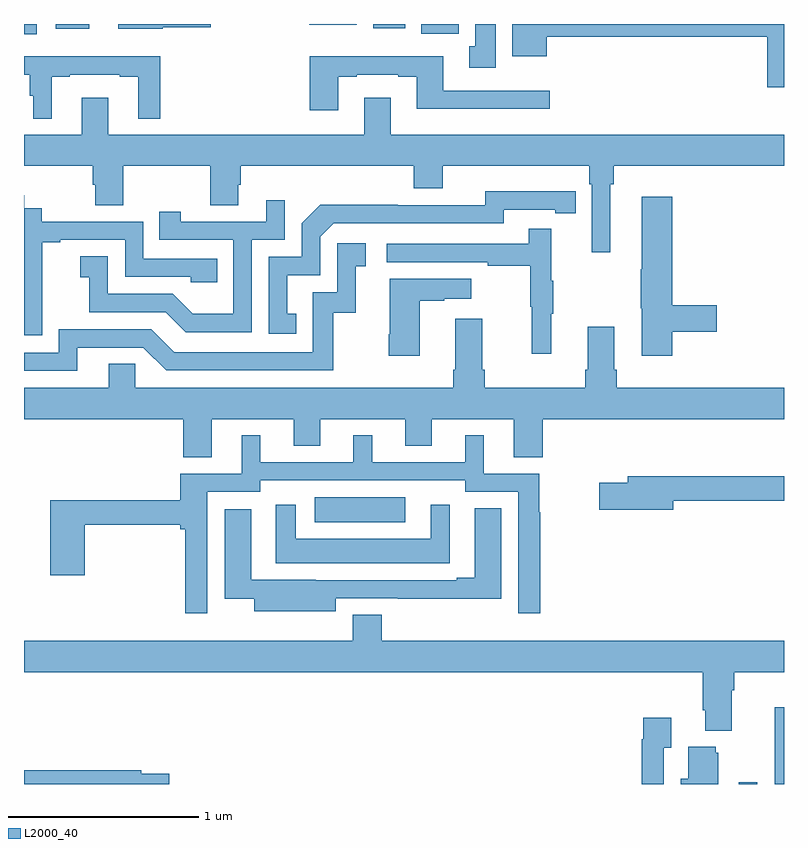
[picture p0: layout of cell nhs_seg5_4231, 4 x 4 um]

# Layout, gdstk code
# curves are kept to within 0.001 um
import gdstk
lib = gdstk.Library(unit=1e-6, precision=1e-09)
def R(c, l, rs):  # rectangles x0, y0, x1, y1
    for r in rs: c.add(gdstk.rectangle(r[:2], r[2:], *l))
def P(c, l, *ps):  # polygons
    for p in ps: c.add(gdstk.Polygon(p, *l))
L2000_40 = (2000, 40)

nhs_seg5_4231 = lib.new_cell('nhs_seg5_4231')
R(nhs_seg5_4231, L2000_40, [(362.763,894.799,362.859,894.808), (360.531,896.177,361.006,896.308), (359,898.745,359.068,898.799), (361.091,898.748,361.288,898.799), (359.168,898.775,359.344,898.799), (360.839,898.776,361.006,898.799), (360.5,898.796,360.751,898.799)])
P(nhs_seg5_4231, L2000_40, [(361.483,898.799),(361.376,898.799),(361.376,898.682),(361.343,898.682),(361.343,898.569),(361.483,898.569)],
  [(363,898.799),(361.571,898.799),(361.571,898.628),(361.75,898.628),(361.75,898.732),(362.912,898.732),(362.912,898.467),(363,898.467)],
  [(359.73,898.781),(359.983,898.781),(359.983,898.799),(359.495,898.799),(359.495,898.775),(359.73,898.775)],
  [(359.146,898.521),(359.242,898.521),(359.242,898.533),(359.504,898.533),(359.504,898.521),(359.6,898.521),(359.6,898.301),(359.717,898.301),(359.717,898.63),(359.172,898.63),(359.172,898.629),(359,898.629),(359,898.532),(359.029,898.532),(359.029,898.422),(359.048,898.422),(359.048,898.301),(359.146,898.301)],
  [(360.655,898.521),(360.751,898.521),(360.751,898.533),(360.971,898.533),(360.971,898.521),(361.067,898.521),(361.067,898.352),(361.768,898.352),(361.768,898.449),(361.207,898.449),(361.207,898.63),(360.503,898.63),(360.503,898.344),(360.655,898.344)],
  [(362.086,897.956),(362.105,897.956),(362.105,898.052),(363,898.052),(363,898.216),(360.931,898.216),(360.931,898.411),(360.791,898.411),(360.791,898.216),(359.443,898.216),(359.443,898.411),(359.303,898.411),(359.303,898.216),(359,898.216),(359,898.052),(359.363,898.052),(359.363,897.954),(359.375,897.954),(359.375,897.844),(359.523,897.844),(359.523,898.052),(359.98,898.052),(359.98,897.844),(360.127,897.844),(360.127,897.954),(360.14,897.954),(360.14,898.052),(361.052,898.052),(361.052,897.935),(361.204,897.935),(361.204,898.052),(361.976,898.052),(361.976,897.956),(361.989,897.956),(361.989,897.597),(362.086,897.597)],
  [(360.434,897.273),(360.385,897.273),(360.385,897.477),(360.558,897.477),(360.558,897.678),(360.63,897.75),(361.524,897.75),(361.524,897.822),(361.796,897.822),(361.796,897.802),(361.904,897.802),(361.904,897.918),(361.428,897.919),(361.428,897.846),(360.968,897.846),(360.968,897.848),(360.56,897.848),(360.462,897.75),(360.462,897.573),(360.288,897.573),(360.288,897.168),(360.434,897.168)],
  [(359.097,897.367),(359.096,897.367),(359.096,897.651),(359.191,897.651),(359.191,897.663),(359.532,897.663),(359.532,897.468),(359.877,897.468),(359.877,897.441),(360.017,897.441),(360.017,897.564),(359.628,897.564),(359.628,897.759),(359.094,897.759),(359.094,897.828),(359.002,897.828),(359.002,897.898),(359,897.898),(359,897.161),(359.097,897.161)],
  [(362.411,897.178),(362.647,897.178),(362.647,897.32),(362.411,897.32),(362.411,897.889),(362.252,897.889),(362.252,897.509),(362.245,897.509),(362.245,897.303),(362.252,897.303),(362.252,897.054),(362.411,897.054)],
  [(360.198,897.663),(360.372,897.663),(360.372,897.871),(360.275,897.871),(360.275,897.759),(359.824,897.759),(359.824,897.811),(359.713,897.811),(359.713,897.663),(360.102,897.663),(360.102,897.274),(359.888,897.274),(359.784,897.378),(359.442,897.378),(359.442,897.577),(359.295,897.577),(359.295,897.467),(359.344,897.467),(359.344,897.282),(359.747,897.282),(359.852,897.177),(360.198,897.177)],
  [(361.775,897.275),(361.786,897.275),(361.786,897.449),(361.775,897.449),(361.775,897.721),(361.657,897.721),(361.657,897.642),(360.909,897.642),(360.909,897.546),(361.441,897.546),(361.441,897.526),(361.665,897.526),(361.665,897.312),(361.672,897.312),(361.672,897.063),(361.775,897.063)],
  [(359.281,897.096),(359.628,897.096),(359.748,896.976),(360.628,896.976),(360.628,897.279),(360.746,897.279),(360.746,897.525),(360.799,897.525),(360.799,897.646),(360.648,897.646),(360.648,897.387),(360.519,897.387),(360.519,897.072),(359.79,897.072),(359.67,897.192),(359.184,897.192),(359.184,897.069),(359,897.069),(359,896.973),(359.281,896.973)],
  [(361.084,897.343),(361.211,897.343),(361.211,897.353),(361.354,897.353),(361.354,897.457),(360.926,897.457),(360.926,897.166),(360.919,897.166),(360.919,897.054),(361.084,897.054)],
  [(359.989,896.72),(360.419,896.72),(360.419,896.578),(360.559,896.578),(360.559,896.72),(361.007,896.72),(361.007,896.578),(361.147,896.578),(361.147,896.72),(361.577,896.72),(361.577,896.518),(361.73,896.518),(361.73,896.72),(363,896.72),(363,896.884),(362.12,896.884),(362.12,896.98),(362.107,896.98),(362.107,897.205),(361.967,897.205),(361.967,896.98),(361.955,896.98),(361.955,896.884),(361.424,896.884),(361.424,896.98),(361.411,896.98),(361.411,897.247),(361.271,897.247),(361.271,896.98),(361.259,896.98),(361.259,896.884),(359.586,896.884),(359.586,897.011),(359.447,897.011),(359.447,896.884),(359,896.884),(359,896.72),(359.837,896.72),(359.837,896.518),(359.989,896.518)],
  [(359.964,896.337),(360.243,896.337),(360.243,896.397),(361.323,896.397),(361.323,896.337),(361.602,896.337),(361.602,895.698),(361.718,895.698),(361.718,896.23),(361.711,896.23),(361.711,896.433),(361.42,896.433),(361.42,896.635),(361.322,896.635),(361.322,896.493),(360.832,896.493),(360.832,896.635),(360.734,896.635),(360.734,896.493),(360.244,896.493),(360.244,896.635),(360.146,896.635),(360.146,896.433),(359.822,896.433),(359.822,896.293),(359.138,896.293),(359.138,895.899),(359.321,895.899),(359.321,896.164),(359.822,896.164),(359.822,896.141),(359.848,896.141),(359.848,895.698),(359.964,895.698)],
  [(362.416,896.29),(363,896.29),(363,896.419),(362.177,896.419),(362.177,896.385),(362.028,896.385),(362.028,896.243),(362.416,896.243)],
  [(361.24,896.269),(361.142,896.269),(361.142,896.089),(360.43,896.089),(360.43,896.269),(360.326,896.269),(360.326,895.961),(361.24,895.961)],
  [(360.64,895.776),(360.967,895.776),(360.967,895.774),(361.513,895.774),(361.513,896.251),(361.373,896.251),(361.373,895.885),(361.277,895.885),(361.277,895.872),(360.536,895.872),(360.536,895.873),(360.196,895.873),(360.196,896.245),(360.056,896.245),(360.056,895.774),(360.212,895.774),(360.212,895.709),(360.64,895.709)],
  [(362.725,895.292),(362.738,895.292),(362.738,895.388),(363,895.388),(363,895.552),(360.884,895.552),(360.884,895.691),(360.731,895.691),(360.731,895.552),(359,895.552),(359,895.388),(362.573,895.388),(362.573,895.186),(362.585,895.186),(362.585,895.079),(362.725,895.079)],
  [(363,895.202),(362.95,895.202),(362.95,894.895),(362.952,894.895),(362.952,894.799),(363,894.799)],
  [(362.367,894.991),(362.407,894.991),(362.407,895.147),(362.259,895.147),(362.259,895.034),(362.251,895.034),(362.251,894.799),(362.367,894.799)],
  [(362.653,894.963),(362.642,894.963),(362.642,894.994),(362.495,894.994),(362.495,894.826),(362.456,894.826),(362.456,894.799),(362.653,894.799)],
  [(359.765,894.852),(359.618,894.852),(359.618,894.872),(359,894.872),(359,894.799),(359.765,894.799)])

lib.write_gds('nhs_seg5_4231.gds')
